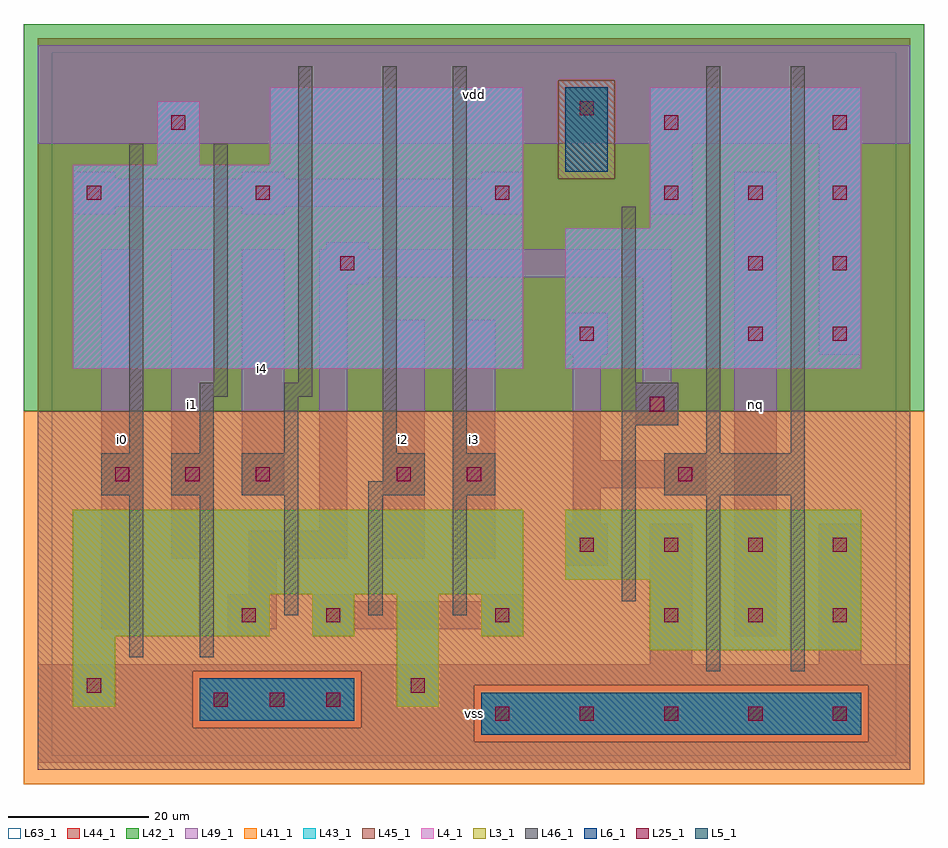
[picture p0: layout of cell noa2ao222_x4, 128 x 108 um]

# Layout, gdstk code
import gdstk
lib = gdstk.Library(unit=1e-6, precision=1e-09)
def R(c, l, rs):  # rectangles x0, y0, x1, y1
    for r in rs: c.add(gdstk.rectangle(r[:2], r[2:], *l))
def A(c, l, x, y, w, h, nx, ny, dx, dy):  # array of equal rectangles
    R(c, l, [(x+i*dx, y+j*dy, x+i*dx+w, y+j*dy+h) for i in range(nx) for j in range(ny)])
L3_1 = (3, 1)
L4_1 = (4, 1)
L5_1 = (5, 1)
L6_1 = (6, 1)
L25_1 = (25, 1)
L41_1 = (41, 1)
L42_1 = (42, 1)
L43_1 = (43, 1)
L44_1 = (44, 1)
L45_1 = (45, 1)
L46_1 = (46, 1)
L49_1 = (49, 1)
L63_1 = (63, 1)

noa2ao222_x4 = lib.new_cell('noa2ao222_x4')
R(noa2ao222_x4, L3_1, [(3,7,9,17), (49,7,55,23), (85,15,115,25), (3,17,31,23), (37,17,43,23), (61,17,67,23), (3,23,67,35), (73,25,115,35)])
R(noa2ao222_x4, L4_1, [(3,55,67,84), (73,55,115,75), (85,75,115,95), (15,84,21,93), (31,84,67,95)])
R(noa2ao222_x4, L5_1, [(73,83,79,95)])
R(noa2ao222_x4, L6_1, [(61,3,115,9), (21,5,43,11)])
A(noa2ao222_x4, L25_1, 63, 5, 2, 2, 5, 1, 12, 0)
A(noa2ao222_x4, L25_1, 23, 7, 2, 2, 3, 1, 8, 0)
A(noa2ao222_x4, L25_1, 39, 19, 2, 2, 3, 1, 24, 0)
A(noa2ao222_x4, L25_1, 75, 29, 2, 2, 4, 1, 12, 0)
A(noa2ao222_x4, L25_1, 9, 39, 2, 2, 3, 1, 10, 0)
A(noa2ao222_x4, L25_1, 87, 79, 2, 2, 3, 1, 12, 0)
R(noa2ao222_x4, L25_1, [(5,9,7,11), (51,9,53,11), (27,19,29,21), (99,19,101,21), (111,19,113,21), (49,39,51,41), (59,39,61,41), (89,39,91,41), (85,49,87,51), (75,59,77,61), (99,59,101,61), (111,59,113,61), (41,69,43,71), (99,69,101,71), (111,69,113,71), (5,79,7,81), (29,79,31,81), (63,79,65,81), (17,89,19,91), (87,89,89,91), (111,89,113,91), (75,91,77,93)])
R(noa2ao222_x4, L41_1, [(-4,-4,124,49)])
R(noa2ao222_x4, L42_1, [(-4,49,124,104)])
R(noa2ao222_x4, L43_1, [(61,3,115,9), (21,5,43,11), (3,7,9,17), (49,7,55,23), (85,15,115,25), (3,17,31,23), (37,17,43,23), (61,17,67,23), (3,23,67,35), (73,25,115,35), (3,55,67,84), (73,55,115,75), (85,75,115,95), (73,83,79,95), (15,84,21,93), (31,84,67,95)])
R(noa2ao222_x4, L44_1, [(60,2,116,10), (20,4,44,12), (-2,49,122,82), (-2,82,72,96), (80,82,122,96), (-2,96,122,102)])
R(noa2ao222_x4, L45_1, [(-2,-2,122,2), (-2,2,60,4), (116,2,122,10), (-2,4,20,12), (44,4,60,10), (44,10,122,12), (-2,12,122,49), (72,82,80,96)])
A(noa2ao222_x4, L46_1, 33, 20, 2, 17, 3, 1, 12, 0)
R(noa2ao222_x4, L46_1, [(93,12,95,37), (105,12,107,37), (11,14,13,37), (21,14,23,37), (81,22,83,47), (7,37,13,43), (17,37,23,43), (27,37,35,43), (45,37,53,39), (57,37,63,43), (87,37,107,43), (47,39,53,43), (11,43,13,87), (21,43,23,51), (33,43,35,51), (47,43,49,98), (57,43,59,98), (93,43,95,98), (105,43,107,98), (81,47,89,53), (21,51,25,53), (33,51,37,53), (23,53,25,87), (35,53,37,98), (81,53,83,78)])
R(noa2ao222_x4, L49_1, [(-2,-1,122,13), (85,13,91,33), (109,13,115,33), (25,17,31,18), (37,17,43,18), (61,17,67,18), (97,17,103,83), (7,18,13,72), (25,18,32,23), (37,18,67,22), (37,22,43,23), (61,22,67,23), (28,23,32,28), (73,27,79,33), (17,28,23,72), (28,28,42,32), (47,28,53,62), (57,28,63,62), (38,32,42,67), (74,33,78,38), (27,37,33,72), (87,37,93,38), (74,38,93,42), (74,42,78,57), (87,42,93,43), (83,47,89,53), (84,53,88,68), (73,57,79,63), (109,57,115,87), (38,67,45,68), (38,68,88,72), (39,72,45,73), (3,77,9,78), (27,77,33,78), (61,77,67,78), (85,77,91,87), (3,78,67,82), (3,82,9,83), (27,82,33,83), (61,82,67,83), (-2,87,122,101)])
R(noa2ao222_x4, L63_1, [(0,0,120,100)])
noa2ao222_x4.add(gdstk.Label('i0', (10,45), layer=49, texttype=1))
noa2ao222_x4.add(gdstk.Label('i1', (20,50), layer=49, texttype=1))
noa2ao222_x4.add(gdstk.Label('i1', (20,50), layer=49, texttype=1))
noa2ao222_x4.add(gdstk.Label('i0', (10,45), layer=49, texttype=1))
noa2ao222_x4.add(gdstk.Label('i4', (30,55), layer=49, texttype=1))
noa2ao222_x4.add(gdstk.Label('i4', (30,55), layer=49, texttype=1))
noa2ao222_x4.add(gdstk.Label('vss', (60,6), layer=49, texttype=1))
noa2ao222_x4.add(gdstk.Label('vss', (60,6), layer=49, texttype=1))
noa2ao222_x4.add(gdstk.Label('i2', (50,45), layer=49, texttype=1))
noa2ao222_x4.add(gdstk.Label('i2', (50,45), layer=49, texttype=1))
noa2ao222_x4.add(gdstk.Label('i3', (60,45), layer=49, texttype=1))
noa2ao222_x4.add(gdstk.Label('i3', (60,45), layer=49, texttype=1))
noa2ao222_x4.add(gdstk.Label('vdd', (60,94), layer=49, texttype=1))
noa2ao222_x4.add(gdstk.Label('vdd', (60,94), layer=49, texttype=1))
noa2ao222_x4.add(gdstk.Label('nq', (100,50), layer=49, texttype=1))
noa2ao222_x4.add(gdstk.Label('nq', (100,50), layer=49, texttype=1))

lib.write_gds('noa2ao222_x4.gds')
